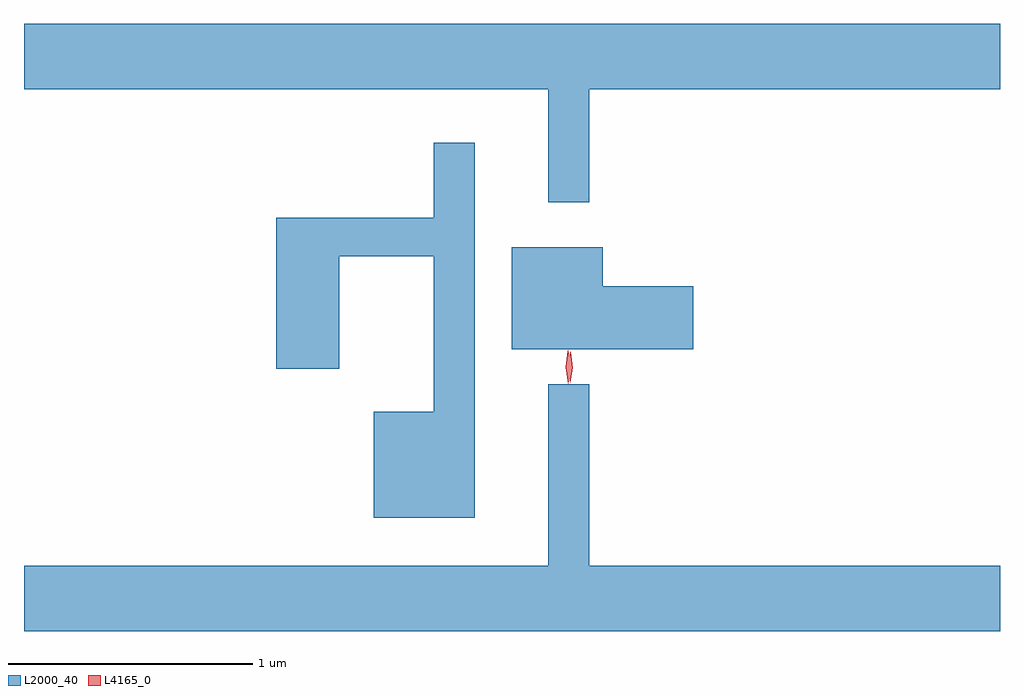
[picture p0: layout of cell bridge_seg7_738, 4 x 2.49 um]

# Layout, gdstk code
import gdstk
lib = gdstk.Library(unit=1e-6, precision=1e-09)
def P(c, l, *ps):  # polygons
    for p in ps: c.add(gdstk.Polygon(p, *l))
L2000_40 = (2000, 40)
L4165_0 = (4165, 0)

bridge_seg7_738 = lib.new_cell('bridge_seg7_738')
P(bridge_seg7_738, L2000_40, [(442.619,1783.136),(444.302,1783.136),(444.302,1783.404),(440.302,1783.404),(440.302,1783.136),(442.451,1783.136),(442.451,1782.673),(442.619,1782.673)],
  [(442.149,1782.918),(441.981,1782.918),(441.981,1782.609),(441.336,1782.609),(441.336,1781.991),(441.594,1781.991),(441.594,1782.451),(441.981,1782.451),(441.981,1781.814),(441.736,1781.814),(441.736,1781.381),(442.149,1781.381)],
  [(443.044,1782.329),(442.674,1782.329),(442.674,1782.489),(442.301,1782.489),(442.301,1782.071),(443.044,1782.071)],
  [(444.302,1781.184),(442.619,1781.184),(442.619,1781.928),(442.451,1781.928),(442.451,1781.184),(440.302,1781.184),(440.302,1780.916),(444.302,1780.916)])
P(bridge_seg7_738, L4165_0, [(442.54,1781.933),(442.54,1781.934),(442.531,1781.996),(442.541,1782.059),(442.542,1782.06),(442.542,1782.059),(442.551,1781.996),(442.54,1781.934)],
  [(442.532,1781.93),(442.532,1781.93),(442.522,1781.998),(442.531,1782.065),(442.532,1782.066),(442.532,1782.065),(442.542,1781.998),(442.533,1781.93)])

lib.write_gds('bridge_seg7_738.gds')
